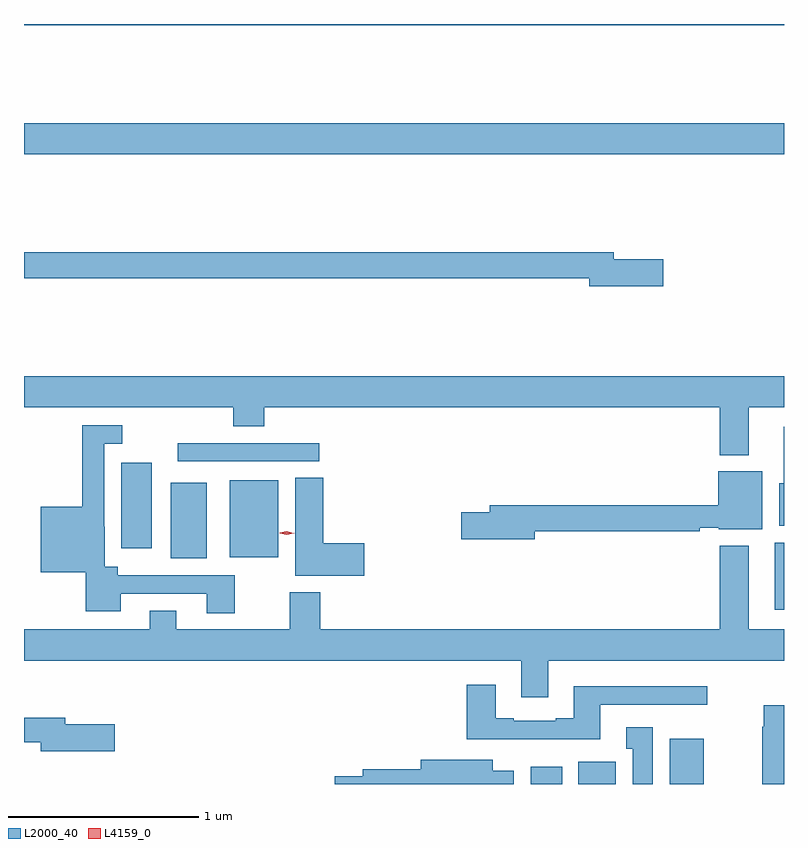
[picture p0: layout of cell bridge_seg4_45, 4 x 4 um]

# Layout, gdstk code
import gdstk
lib = gdstk.Library(unit=1e-6, precision=1e-09)
def R(c, l, rs):  # rectangles x0, y0, x1, y1
    for r in rs: c.add(gdstk.rectangle(r[:2], r[2:], *l))
def P(c, l, *ps):  # polygons
    for p in ps: c.add(gdstk.Polygon(p, *l))
L2000_40 = (2000, 40)
L4159_0 = (4159, 0)

bridge_seg4_45 = lib.new_cell('bridge_seg4_45')
R(bridge_seg4_45, L2000_40, [(675.413,782.85,675.58,782.941), (675.665,782.85,675.862,782.968), (676.145,782.85,676.324,783.088), (676.697,783.768,676.747,784.12), (673.52,784.037,673.708,784.435), (673.829,784.043,674.086,784.45), (673.259,784.092,673.42,784.54), (673.557,784.548,674.302,784.644), (672.747,786.164,676.747,786.328), (672.747,786.844,676.747,786.85)])
P(bridge_seg4_45, L2000_40, [(676.111,785.612),(675.85,785.612),(675.85,785.648),(672.747,785.648),(672.747,785.512),(675.722,785.512),(675.722,785.47),(676.111,785.47)],
  [(676.561,784.832),(676.747,784.832),(676.747,784.996),(672.747,784.996),(672.747,784.832),(673.847,784.832),(673.847,784.733),(674.012,784.733),(674.012,784.832),(676.409,784.832),(676.409,784.58),(676.561,784.58)],
  [(673.857,783.948),(673.24,783.948),(673.24,783.994),(673.171,783.994),(673.171,784.205),(673.17,784.205),(673.17,784.641),(673.264,784.641),(673.264,784.737),(673.054,784.737),(673.054,784.309),(672.836,784.309),(672.836,783.965),(673.073,783.965),(673.073,783.758),(673.255,783.758),(673.255,783.852),(673.709,783.852),(673.709,783.75),(673.857,783.75)],
  [(676.747,784.729),(676.745,784.729),(676.745,784.434),(676.721,784.434),(676.721,784.208),(676.747,784.208)],
  [(675.436,784.18),(676.304,784.18),(676.304,784.2),(676.404,784.2),(676.404,784.19),(676.633,784.19),(676.633,784.495),(676.4,784.495),(676.4,784.316),(675.197,784.316),(675.197,784.28),(675.048,784.28),(675.048,784.138),(675.436,784.138)],
  [(674.539,784.118),(674.321,784.118),(674.321,784.463),(674.174,784.463),(674.174,783.947),(674.539,783.947)],
  [(675.505,783.5),(676.747,783.5),(676.747,783.664),(676.561,783.664),(676.561,784.105),(676.409,784.105),(676.409,783.664),(674.306,783.664),(674.306,783.859),(674.146,783.859),(674.146,783.664),(673.549,783.664),(673.549,783.763),(673.409,783.763),(673.409,783.664),(672.747,783.664),(672.747,783.5),(675.365,783.5),(675.365,783.306),(675.505,783.306)],
  [(675.781,783.267),(676.342,783.267),(676.342,783.364),(675.641,783.364),(675.641,783.196),(675.545,783.196),(675.545,783.183),(675.325,783.183),(675.325,783.196),(675.229,783.196),(675.229,783.373),(675.077,783.373),(675.077,783.086),(675.781,783.086)],
  [(676.747,783.265),(676.64,783.265),(676.64,783.152),(676.633,783.152),(676.633,782.85),(676.747,782.85)],
  [(673.225,783.165),(672.964,783.165),(672.964,783.199),(672.747,783.199),(672.747,783.07),(672.836,783.07),(672.836,783.023),(673.225,783.023)],
  [(676.057,783.148),(675.917,783.148),(675.917,783.035),(675.95,783.035),(675.95,782.85),(676.057,782.85)],
  [(675.325,782.92),(675.214,782.92),(675.214,782.977),(674.834,782.977),(674.834,782.927),(674.531,782.927),(674.531,782.891),(674.382,782.891),(674.382,782.85),(675.325,782.85)])
P(bridge_seg4_45, L4159_0, [(674.13,784.161),(674.093,784.171),(674.092,784.171),(674.093,784.172),(674.131,784.181),(674.168,784.171),(674.169,784.171),(674.168,784.17)])

lib.write_gds('bridge_seg4_45.gds')
